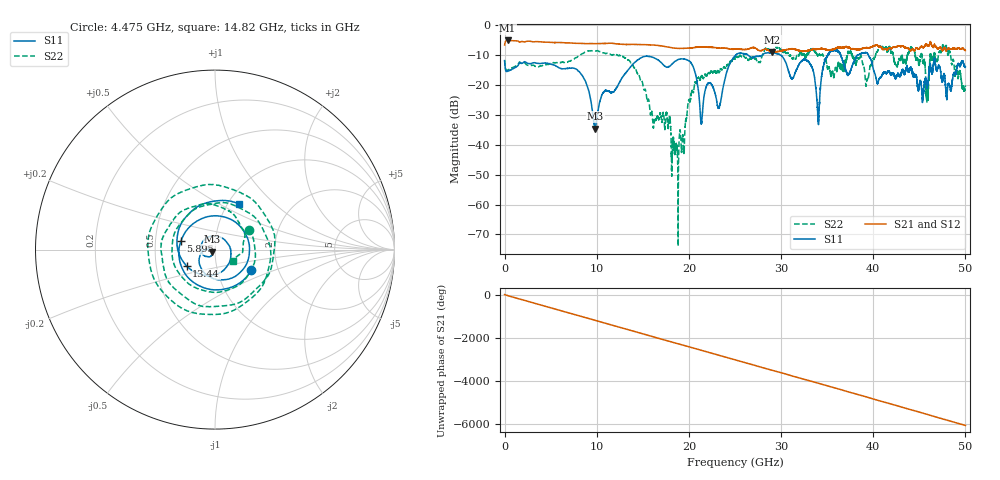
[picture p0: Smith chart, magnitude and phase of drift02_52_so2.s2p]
!Created with skrf (http://scikit-rf.org).
# Hz S RI R 50.0
!freq ReS11 ImS11 ReS21 ImS21 ReS12 ImS12 ReS22 ImS22
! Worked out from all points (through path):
!   10001 points, 300 kHz to 50 GHz, reference 50 ohm
!   highest |S21| = -5.04 dB at 325.3 MHz (marker M1); lowest = -9.0 dB at 29.05 GHz (marker M2)
!   group delay of S21, straight-line fit = 336 ps
!   lowest |S11| = -34.5 dB at 9.84 GHz (marker M3), VSWR 1.04, Z = 48.5 - j1.05 ohm
!   |S11| at or under -10 dB: start of sweep to 25.06 GHz; 29.98 GHz to 35.05 GHz (5.078 GHz wide, 15.6 % of centre); 39.48 GHz to end of sweep (the widest 3 of 12)
!   |S22| runs from -73.9 to -6.3 dB; largest |S21 - S12| = 0.021
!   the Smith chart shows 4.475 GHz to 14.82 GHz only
!   S11 on the Smith chart (normalised r, x): 4.475 GHz: 1.46, -0.35; 5.895 GHz: 0.68, +0.07; 13.44 GHz: 0.72, -0.13; 14.82 GHz: 1.12, +0.62
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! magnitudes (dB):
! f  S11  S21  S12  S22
! 300 kHz  -11.8  -6.5  -6.5  -11.6
! 325.3 MHz  -15.4  -5.0  -5.0  -15.0
! 4.475 GHz  -12.6  -5.6  -5.6  -13.2
! 5.895 GHz  -14.2  -5.7  -5.7  -12.4
! 8.335 GHz  -16.4  -6.0  -6.0  -9.6
! 9.84 GHz  -34.5  -6.1  -6.1  -8.5
! 13.44 GHz  -14.8  -6.4  -6.4  -11.6
! 14.82 GHz  -10.8  -6.4  -6.4  -18.5
! 16.67 GHz  -11.6  -6.7  -6.7  -31.0
! 18.66 GHz  -11.7  -7.7  -7.7  -40.1
! 20.37 GHz  -13.3  -7.5  -7.5  -22.1
! 21.37 GHz  -32.9  -7.3  -7.2  -17.0
! 23.31 GHz  -27.3  -7.5  -7.6  -15.7
! 25 GHz  -10.3  -7.9  -7.9  -11.2
! 29.05 GHz  -9.1  -9.0  -9.0  -8.2
! 33.34 GHz  -13.9  -8.0  -8.1  -8.1
! 34.02 GHz  -32.2  -7.9  -7.9  -10.2
! 35.54 GHz  -8.4  -8.1  -8.1  -15.2
! 41.67 GHz  -15.3  -7.7  -7.7  -7.3
! 45.87 GHz  -20.4  -6.8  -6.9  -22.8
! 47.76 GHz  -17.1  -7.4  -7.5  -7.7
! 50 GHz  -13.9  -8.4  -8.4  -20.5
